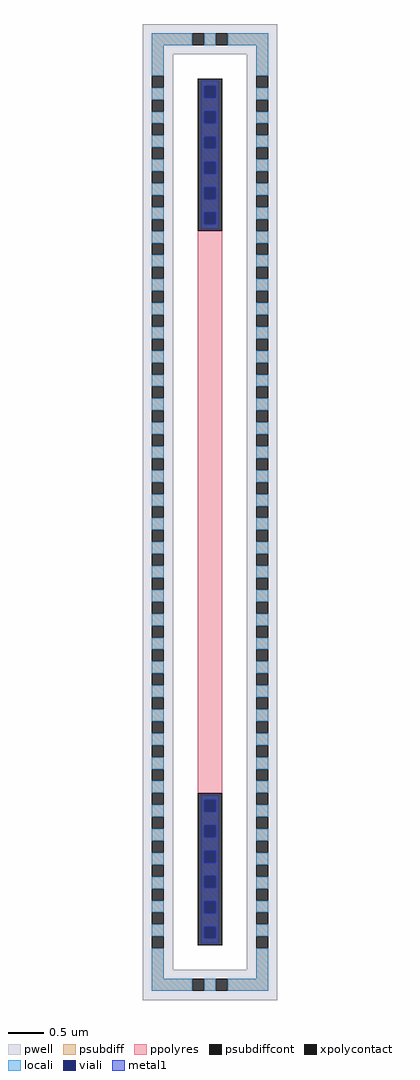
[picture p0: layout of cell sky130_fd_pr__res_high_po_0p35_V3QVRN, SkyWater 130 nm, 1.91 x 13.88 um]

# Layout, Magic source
magic
tech sky130A
magscale 1 2
<< pwell >>
rect -191 1302 191 1388
rect -191 -1302 -105 1302
rect 105 -1302 191 1302
rect -191 -1388 191 -1302
<< psubdiff >>
rect -165 1328 -51 1362
rect -17 1328 17 1362
rect 51 1328 165 1362
rect -165 1241 -131 1328
rect 131 1241 165 1328
rect -165 1173 -131 1207
rect -165 1105 -131 1139
rect -165 1037 -131 1071
rect -165 969 -131 1003
rect -165 901 -131 935
rect -165 833 -131 867
rect -165 765 -131 799
rect -165 697 -131 731
rect -165 629 -131 663
rect -165 561 -131 595
rect -165 493 -131 527
rect -165 425 -131 459
rect -165 357 -131 391
rect -165 289 -131 323
rect -165 221 -131 255
rect -165 153 -131 187
rect -165 85 -131 119
rect -165 17 -131 51
rect -165 -51 -131 -17
rect -165 -119 -131 -85
rect -165 -187 -131 -153
rect -165 -255 -131 -221
rect -165 -323 -131 -289
rect -165 -391 -131 -357
rect -165 -459 -131 -425
rect -165 -527 -131 -493
rect -165 -595 -131 -561
rect -165 -663 -131 -629
rect -165 -731 -131 -697
rect -165 -799 -131 -765
rect -165 -867 -131 -833
rect -165 -935 -131 -901
rect -165 -1003 -131 -969
rect -165 -1071 -131 -1037
rect -165 -1139 -131 -1105
rect -165 -1207 -131 -1173
rect 131 1173 165 1207
rect 131 1105 165 1139
rect 131 1037 165 1071
rect 131 969 165 1003
rect 131 901 165 935
rect 131 833 165 867
rect 131 765 165 799
rect 131 697 165 731
rect 131 629 165 663
rect 131 561 165 595
rect 131 493 165 527
rect 131 425 165 459
rect 131 357 165 391
rect 131 289 165 323
rect 131 221 165 255
rect 131 153 165 187
rect 131 85 165 119
rect 131 17 165 51
rect 131 -51 165 -17
rect 131 -119 165 -85
rect 131 -187 165 -153
rect 131 -255 165 -221
rect 131 -323 165 -289
rect 131 -391 165 -357
rect 131 -459 165 -425
rect 131 -527 165 -493
rect 131 -595 165 -561
rect 131 -663 165 -629
rect 131 -731 165 -697
rect 131 -799 165 -765
rect 131 -867 165 -833
rect 131 -935 165 -901
rect 131 -1003 165 -969
rect 131 -1071 165 -1037
rect 131 -1139 165 -1105
rect 131 -1207 165 -1173
rect -165 -1328 -131 -1241
rect 131 -1328 165 -1241
rect -165 -1362 -51 -1328
rect -17 -1362 17 -1328
rect 51 -1362 165 -1328
<< psubdiffcont >>
rect -51 1328 -17 1362
rect 17 1328 51 1362
rect -165 1207 -131 1241
rect -165 1139 -131 1173
rect -165 1071 -131 1105
rect -165 1003 -131 1037
rect -165 935 -131 969
rect -165 867 -131 901
rect -165 799 -131 833
rect -165 731 -131 765
rect -165 663 -131 697
rect -165 595 -131 629
rect -165 527 -131 561
rect -165 459 -131 493
rect -165 391 -131 425
rect -165 323 -131 357
rect -165 255 -131 289
rect -165 187 -131 221
rect -165 119 -131 153
rect -165 51 -131 85
rect -165 -17 -131 17
rect -165 -85 -131 -51
rect -165 -153 -131 -119
rect -165 -221 -131 -187
rect -165 -289 -131 -255
rect -165 -357 -131 -323
rect -165 -425 -131 -391
rect -165 -493 -131 -459
rect -165 -561 -131 -527
rect -165 -629 -131 -595
rect -165 -697 -131 -663
rect -165 -765 -131 -731
rect -165 -833 -131 -799
rect -165 -901 -131 -867
rect -165 -969 -131 -935
rect -165 -1037 -131 -1003
rect -165 -1105 -131 -1071
rect -165 -1173 -131 -1139
rect -165 -1241 -131 -1207
rect 131 1207 165 1241
rect 131 1139 165 1173
rect 131 1071 165 1105
rect 131 1003 165 1037
rect 131 935 165 969
rect 131 867 165 901
rect 131 799 165 833
rect 131 731 165 765
rect 131 663 165 697
rect 131 595 165 629
rect 131 527 165 561
rect 131 459 165 493
rect 131 391 165 425
rect 131 323 165 357
rect 131 255 165 289
rect 131 187 165 221
rect 131 119 165 153
rect 131 51 165 85
rect 131 -17 165 17
rect 131 -85 165 -51
rect 131 -153 165 -119
rect 131 -221 165 -187
rect 131 -289 165 -255
rect 131 -357 165 -323
rect 131 -425 165 -391
rect 131 -493 165 -459
rect 131 -561 165 -527
rect 131 -629 165 -595
rect 131 -697 165 -663
rect 131 -765 165 -731
rect 131 -833 165 -799
rect 131 -901 165 -867
rect 131 -969 165 -935
rect 131 -1037 165 -1003
rect 131 -1105 165 -1071
rect 131 -1173 165 -1139
rect 131 -1241 165 -1207
rect -51 -1362 -17 -1328
rect 17 -1362 51 -1328
<< xpolycontact >>
rect -35 800 35 1232
rect -35 -1232 35 -800
<< ppolyres >>
rect -35 -800 35 800
<< locali >>
rect -165 1328 -51 1362
rect -17 1328 17 1362
rect 51 1328 165 1362
rect -165 1241 -131 1328
rect 131 1241 165 1328
rect -165 1173 -131 1207
rect -165 1105 -131 1139
rect -165 1037 -131 1071
rect -165 969 -131 1003
rect -165 901 -131 935
rect -165 833 -131 867
rect 131 1173 165 1207
rect 131 1105 165 1139
rect 131 1037 165 1071
rect 131 969 165 1003
rect 131 901 165 935
rect 131 833 165 867
rect -165 765 -131 799
rect -165 697 -131 731
rect -165 629 -131 663
rect -165 561 -131 595
rect -165 493 -131 527
rect -165 425 -131 459
rect -165 357 -131 391
rect -165 289 -131 323
rect -165 221 -131 255
rect -165 153 -131 187
rect -165 85 -131 119
rect -165 17 -131 51
rect -165 -51 -131 -17
rect -165 -119 -131 -85
rect -165 -187 -131 -153
rect -165 -255 -131 -221
rect -165 -323 -131 -289
rect -165 -391 -131 -357
rect -165 -459 -131 -425
rect -165 -527 -131 -493
rect -165 -595 -131 -561
rect -165 -663 -131 -629
rect -165 -731 -131 -697
rect -165 -799 -131 -765
rect 131 765 165 799
rect 131 697 165 731
rect 131 629 165 663
rect 131 561 165 595
rect 131 493 165 527
rect 131 425 165 459
rect 131 357 165 391
rect 131 289 165 323
rect 131 221 165 255
rect 131 153 165 187
rect 131 85 165 119
rect 131 17 165 51
rect 131 -51 165 -17
rect 131 -119 165 -85
rect 131 -187 165 -153
rect 131 -255 165 -221
rect 131 -323 165 -289
rect 131 -391 165 -357
rect 131 -459 165 -425
rect 131 -527 165 -493
rect 131 -595 165 -561
rect 131 -663 165 -629
rect 131 -731 165 -697
rect 131 -799 165 -765
rect -165 -867 -131 -833
rect -165 -935 -131 -901
rect -165 -1003 -131 -969
rect -165 -1071 -131 -1037
rect -165 -1139 -131 -1105
rect -165 -1207 -131 -1173
rect 131 -867 165 -833
rect 131 -935 165 -901
rect 131 -1003 165 -969
rect 131 -1071 165 -1037
rect 131 -1139 165 -1105
rect 131 -1207 165 -1173
rect -165 -1328 -131 -1241
rect 131 -1328 165 -1241
rect -165 -1362 -51 -1328
rect -17 -1362 17 -1328
rect 51 -1362 165 -1328
<< viali >>
rect -17 1178 17 1212
rect -17 1106 17 1140
rect -17 1034 17 1068
rect -17 962 17 996
rect -17 890 17 924
rect -17 818 17 852
rect -17 -853 17 -819
rect -17 -925 17 -891
rect -17 -997 17 -963
rect -17 -1069 17 -1035
rect -17 -1141 17 -1107
rect -17 -1213 17 -1179
<< metal1 >>
rect -25 1212 25 1226
rect -25 1178 -17 1212
rect 17 1178 25 1212
rect -25 1140 25 1178
rect -25 1106 -17 1140
rect 17 1106 25 1140
rect -25 1068 25 1106
rect -25 1034 -17 1068
rect 17 1034 25 1068
rect -25 996 25 1034
rect -25 962 -17 996
rect 17 962 25 996
rect -25 924 25 962
rect -25 890 -17 924
rect 17 890 25 924
rect -25 852 25 890
rect -25 818 -17 852
rect 17 818 25 852
rect -25 805 25 818
rect -25 -819 25 -805
rect -25 -853 -17 -819
rect 17 -853 25 -819
rect -25 -891 25 -853
rect -25 -925 -17 -891
rect 17 -925 25 -891
rect -25 -963 25 -925
rect -25 -997 -17 -963
rect 17 -997 25 -963
rect -25 -1035 25 -997
rect -25 -1069 -17 -1035
rect 17 -1069 25 -1035
rect -25 -1107 25 -1069
rect -25 -1141 -17 -1107
rect 17 -1141 25 -1107
rect -25 -1179 25 -1141
rect -25 -1213 -17 -1179
rect 17 -1213 25 -1179
rect -25 -1226 25 -1213
<< properties >>
string FIXED_BBOX -148 -1345 148 1345
<< end >>
